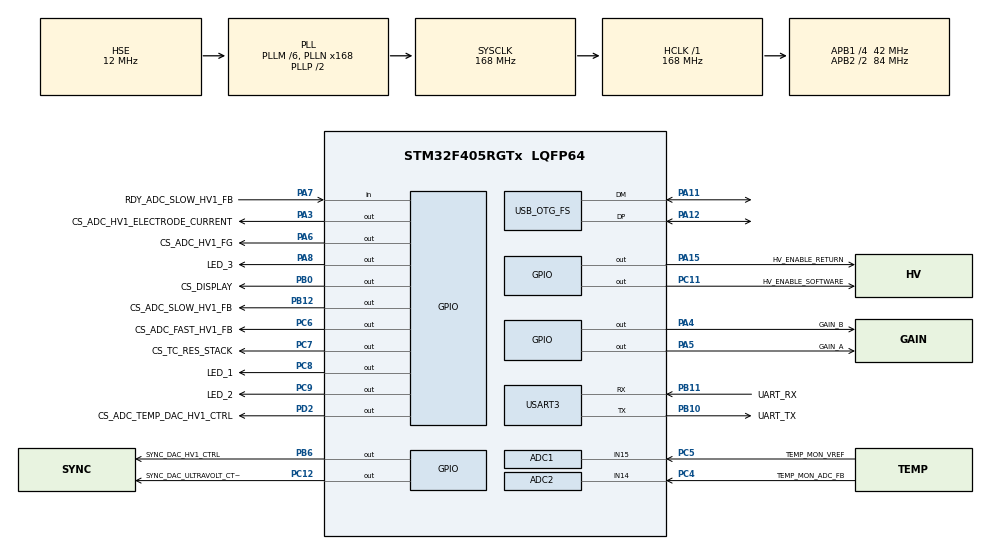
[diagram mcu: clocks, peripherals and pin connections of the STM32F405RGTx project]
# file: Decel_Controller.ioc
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ADC1.Channel-0\#ChannelRegularConversion=ADC_CHANNEL_15
ADC1.ClockPrescaler=ADC_CLOCK_SYNC_PCLK_DIV4
ADC1.NbrOfConversionFlag=1
ADC1.Rank-0\#ChannelRegularConversion=1
ADC1.SamplingTime-0\#ChannelRegularConversion=ADC_SAMPLETIME_3CYCLES
ADC1.master=1
ADC2.Channel-0\#ChannelRegularConversion=ADC_CHANNEL_14
ADC2.ClockPrescaler=ADC_CLOCK_SYNC_PCLK_DIV4
ADC2.NbrOfConversionFlag=1
ADC2.Rank-0\#ChannelRegularConversion=1
ADC2.SamplingTime-0\#ChannelRegularConversion=ADC_SAMPLETIME_3CYCLES
Mcu.Family=STM32F4
Mcu.Name=STM32F405RGTx
Mcu.Package=LQFP64
NVIC.OTG_FS_IRQn=true\:0\:0\:false\:false\:true\:false\:true\:true
NVIC.PriorityGroup=NVIC_PRIORITYGROUP_4
NVIC.USART3_IRQn=true\:0\:0\:false\:false\:true\:true\:true\:true
PA11.Mode=Device_Only
PA11.Signal=USB_OTG_FS_DM
PA12.Mode=Device_Only
PA12.Signal=USB_OTG_FS_DP
PA13.Mode=Serial_Wire
PA13.Signal=SYS_JTMS-SWDIO
PA14.Mode=Serial_Wire
PA14.Signal=SYS_JTCK-SWCLK
PA15.GPIO_Label=HV_ENABLE_RETURN
PA15.Signal=GPIO_Output
PA3.GPIO_Label=CS_ADC_HV1_ELECTRODE_CURRENT
PA3.GPIO_Speed=GPIO_SPEED_FREQ_VERY_HIGH
PA3.PinState=GPIO_PIN_SET
PA3.Signal=GPIO_Output
PA4.GPIO_Label=GAIN_B
PA4.Signal=GPIO_Output
PA5.GPIO_Label=GAIN_A
PA5.Signal=GPIO_Output
PA6.GPIO_Label=CS_ADC_HV1_FG
PA6.GPIO_Speed=GPIO_SPEED_FREQ_VERY_HIGH
PA6.PinState=GPIO_PIN_SET
PA6.Signal=GPIO_Output
PA7.GPIO_Label=RDY_ADC_SLOW_HV1_FB
PA7.Signal=GPIO_Input
PA8.GPIO_Label=LED_3
PA8.Signal=GPIO_Output
PB0.GPIO_Label=CS_DISPLAY
PB0.GPIO_Speed=GPIO_SPEED_FREQ_VERY_HIGH
PB0.PinState=GPIO_PIN_SET
PB0.Signal=GPIO_Output
PB10.GPIO_Label=UART_TX
PB10.Mode=Asynchronous
PB10.Signal=USART3_TX
PB11.GPIO_Label=UART_RX
PB11.Mode=Asynchronous
PB11.Signal=USART3_RX
PB12.GPIO_Label=CS_ADC_SLOW_HV1_FB
PB12.GPIO_Speed=GPIO_SPEED_FREQ_LOW
PB12.PinState=GPIO_PIN_SET
PB12.Signal=GPIO_Output
PB6.GPIO_Label=SYNC_DAC_HV1_CTRL
PB6.Signal=GPIO_Output
PC11.GPIO_Label=HV_ENABLE_SOFTWARE
PC11.Signal=GPIO_Output
PC12.GPIO_Label=SYNC_DAC_ULTRAVOLT_CTRL
PC12.Signal=GPIO_Output
PC14-OSC32_IN.Mode=LSE-External-Oscillator
PC14-OSC32_IN.Signal=RCC_OSC32_IN
PC15-OSC32_OUT.Mode=LSE-External-Oscillator
PC15-OSC32_OUT.Signal=RCC_OSC32_OUT
PC4.GPIO_Label=TEMP_MON_ADC_FB
PC4.Signal=ADCx_IN14
PC5.GPIO_Label=TEMP_MON_VREF
PC5.Signal=ADCx_IN15
PC6.GPIO_Label=CS_ADC_FAST_HV1_FB
PC6.GPIO_Speed=GPIO_SPEED_FREQ_VERY_HIGH
PC6.PinState=GPIO_PIN_SET
PC6.Signal=GPIO_Output
PC7.GPIO_Label=CS_TC_RES_STACK
PC7.GPIO_Speed=GPIO_SPEED_FREQ_VERY_HIGH
PC7.PinState=GPIO_PIN_SET
PC7.Signal=GPIO_Output
PC8.GPIO_Label=LED_1
PC8.Signal=GPIO_Output
PC9.GPIO_Label=LED_2
PC9.Signal=GPIO_Output
PD2.GPIO_Label=CS_ADC_TEMP_DAC_HV1_CTRL
PD2.GPIO_Speed=GPIO_SPEED_FREQ_VERY_HIGH
PD2.PinState=GPIO_PIN_SET
PD2.Signal=GPIO_Output
PH0-OSC_IN.Mode=HSE-External-Oscillator
PH0-OSC_IN.Signal=RCC_OSC_IN
PH1-OSC_OUT.Mode=HSE-External-Oscillator
PH1-OSC_OUT.Signal=RCC_OSC_OUT
ProjectManager.HeapSize=0x200
ProjectManager.StackSize=0x400
ProjectManager.TargetToolchain=STM32CubeIDE
RCC.48MHZClocksFreq_Value=48000000
RCC.AHBFreq_Value=168000000
RCC.APB1CLKDivider=RCC_HCLK_DIV4
RCC.APB1Freq_Value=42000000
RCC.APB1TimFreq_Value=84000000
RCC.APB2CLKDivider=RCC_HCLK_DIV2
RCC.APB2Freq_Value=84000000
RCC.APB2TimFreq_Value=168000000
RCC.CortexFreq_Value=168000000
RCC.HCLKFreq_Value=168000000
RCC.HSE_VALUE=12000000
RCC.HSI_VALUE=16000000
RCC.PLLM=6
RCC.PLLN=168
RCC.PLLQ=7
RCC.RCC_RTC_Clock_Source=RCC_RTCCLKSOURCE_LSE
RCC.RCC_RTC_Clock_SourceVirtual=RCC_RTCCLKSOURCE_LSE
RCC.SYSCLKFreq_VALUE=168000000
RCC.SYSCLKSource=RCC_SYSCLKSOURCE_PLLCLK
RCC.VCOOutputFreq_Value=336000000
SH.ADCx_IN14.0=ADC2_IN14,IN14
SH.ADCx_IN15.0=ADC1_IN15,IN15
USART3.VirtualMode=VM_ASYNC
USB_DEVICE.CLASS_NAME_FS=CDC
USB_DEVICE.USBD_SELF_POWERED-CDC_FS=1
USB_DEVICE.VirtualMode-CDC_FS=Cdc
USB_DEVICE.VirtualModeFS=Cdc_FS
USB_OTG_FS.VirtualMode=Device_Only
VP_RTC_VS_RTC_Activate.Mode=RTC_Enabled
VP_RTC_VS_RTC_Calendar.Mode=RTC_Calendar
VP_USB_DEVICE_VS_USB_DEVICE_CDC_FS.Mode=CDC_FS
board=custom

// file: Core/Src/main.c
/* USER CODE BEGIN Header */
/**
  ******************************************************************************
  * @file           : main.c
  * @brief          : Main program body
  ******************************************************************************
  * @attention
  *
  * Copyright (c) 2023 STMicroelectronics.
  * All rights reserved.
  *
  * This software is licensed under terms that can be found in the LICENSE file
  * in the root directory of this software component.
  * If no LICENSE file comes with this software, it is provided AS-IS.
  *
  ******************************************************************************
  */
/* USER CODE END Header */
#include "main.h"
#include "usb_device.h"

/* USER CODE BEGIN Includes */
#include "max11270.h"
#include "mcp33131.h"
#include "max6225.h"
#include "board.h"
#include "ad5763.h"
#include "misc_funcs.h"
#include "stdint.h"
#include <string.h>
#include <stdio.h>
#include "usbd_cdc_if.h"
#include "stm32f4xx_hal_rcc.h"
#include "errno.h"
#include "spi_bare.h"

/* USER CODE END Includes */

ADC_HandleTypeDef hadc1;
ADC_HandleTypeDef hadc2;

RTC_HandleTypeDef hrtc;

UART_HandleTypeDef huart3;

/* USER CODE BEGIN PV */
uint8_t new_usb_data; 			// flag to indicate new usb data has been received
uint8_t buffer_usb_rx[64]; 		// will automatically contain new USB received data
uint8_t new_uart_data; 			// flag to indicate new uart data has been received
uint8_t buffer_uart_rx[64]; 	// will automatically contain new UART received data
struct command cmd;				// holds the most recent command received over either USB or UART
uint8_t new_cmd;				// flag to indicate if the newest command has been acted on
/* USER CODE END PV */

void SystemClock_Config(void);
static void MX_GPIO_Init(void);
static void MX_ADC1_Init(void);
static void MX_ADC2_Init(void);
static void MX_RTC_Init(void);
static void MX_USART3_UART_Init(void);

int main(void)
{

  /* MCU Configuration--------------------------------------------------------*/

  /* Reset of all peripherals, Initializes the Flash interface and the Systick. */
  HAL_Init();

  /* Configure the system clock */
  SystemClock_Config();

  /* Initialize all configured peripherals */
  MX_GPIO_Init();
  MX_ADC1_Init();
  MX_ADC2_Init();
  MX_RTC_Init();
  MX_USART3_UART_Init();
  MX_USB_DEVICE_Init();
  /* USER CODE BEGIN 2 */

	SPIConfig();
	SPI_Enable(SPI1);
	SPI_Enable(SPI2);

	led_twinkle(80); //allows voltage to settle before attempting calibration

	// allows access to clock cycles
	CoreDebug->DEMCR |= CoreDebug_DEMCR_TRCENA_Msk;
	DWT->CYCCNT = 0;
	DWT->CTRL |= DWT_CTRL_CYCCNTENA_Msk;

	uint8_t verbose = 0; 	// levels 0, 1, 2 - produces increasingly descriptive serial output

	new_usb_data = 0;
	new_uart_data = 0;
	new_cmd = 0;
	HAL_UART_Receive_IT (&huart3, buffer_uart_rx, 64); // start listening for data over fibre-optic UART

	splash_message(verbose);	// says a little hello and some system information and settings

	// Initialise and setup the various peripheral devices, ADC's, DAC's etc.

	struct board decel_board = init_board(verbose);

	struct max11270_device adc_slow_hv1_fb =
		  init_max11270(CS_ADC_SLOW_HV1_FB_Pin, CS_ADC_SLOW_HV1_FB_GPIO_Port,
				  RDY_ADC_SLOW_HV1_FB_Pin, RDY_ADC_SLOW_HV1_FB_GPIO_Port, 0, SPI2, verbose, "Vfb_slow_ADC");

	struct mcp33131_device adc_fast_hv1_fb =
		  init_mcp33131(CS_ADC_FAST_HV1_FB_Pin, CS_ADC_FAST_HV1_FB_GPIO_Port, SPI2, verbose, "Vfb_ADC");/*
	struct mcp33131_device adc_hv1_fg =
		  init_mcp33131(CS_ADC_HV1_FG_Pin, CS_ADC_HV1_FG_GPIO_Port, SPI2, verbose, "Vfg_ADC");
	struct mcp33131_device adc_temp_dac_hv1_ctrl =
		  init_mcp33131(CS_ADC_TEMP_DAC_HV1_CTRL_Pin, CS_ADC_TEMP_DAC_HV1_CTRL_GPIO_Port, SPI2, verbose, "DAC_temp_ADC");
	struct mcp33131_device adc_hv1_electrode_current =
		  init_mcp33131(CS_ADC_HV1_ELECTRODE_CURRENT_Pin, CS_ADC_HV1_ELECTRODE_CURRENT_GPIO_Port, SPI2, verbose, "current_ADC");

	struct ad5763_device dac_hv1 =
		  init_ad5763(SYNC_DAC_HV1_CTRL_Pin, SYNC_DAC_HV1_CTRL_GPIO_Port, SPI1,
				  HV1_COARSE_OFFSET, HV1_COARSE_GAIN, HV1_FINE_OFFSET, HV1_FINE_GAIN, verbose, "DAC_HV", "coarse", "fine");
	struct ad5763_device dac_ultravolt =
		  init_ad5763(SYNC_DAC_ULTRAVOLT_CTRL_Pin, SYNC_DAC_ULTRAVOLT_CTRL_GPIO_Port, SPI1,
				  UVA_OFFSET, UVA_GAIN, UVB_OFFSET, UVB_GAIN, verbose, "DAC_UV", "A", "B");*/

	struct max6225_device vref = init_max6225(verbose);

  /* USER CODE END 2 */

  /* Infinite loop */
  /* USER CODE BEGIN WHILE */
	uint32_t lastTick = HAL_GetTick();
	while (1)
	{
    /* USER CODE END WHILE */

    /* USER CODE BEGIN 3 */
		// checks for newly received USB data, attempts to parse and act on it
		if (new_usb_data != 0)
		{
			cmd = handle_data(&buffer_usb_rx, verbose);
			if (cmd.valid == 1) new_cmd = 1;
			new_usb_data = 0;
		}

		// checks for newly received UART data, attempts to parse and act on it
		if (new_uart_data != 0)
		{
			cmd = handle_data(&buffer_uart_rx, verbose);
			if (cmd.valid == 1)new_cmd = 1;
			new_uart_data = 0;
		}

		// acts on new commands, calling appropriate function with appropriate arguments
		if (new_cmd == 1)
		{
			new_cmd = 0;
			if (verbose == 1) println("Command acknowledged.");
			if (verbose > 1)
			{
				print("Command received...\n\rType: ");
				println(cmd.type);
				print("Object: ");
				println(cmd.object);
				print("Value: ");
				printfloat(cmd.value, 1);
			}
			if (strcmp(cmd.type, "setSpeed") == 0)
			{
				if (strcmp(cmd.object, adc_slow_hv1_fb.name) == 0)
					cont_conversion(&adc_slow_hv1_fb, verbose, (uint8_t)cmd.value);
				else {} //no other devices with variable speed
			}
			else if (strcmp(cmd.type, "setVoltage") == 0)
			{
			}
			else if (strcmp(cmd.type, "requestValue") == 0)
			{
				if (strcmp(cmd.object, adc_slow_hv1_fb.name) == 0)
					printfloat(adc_slow_hv1_fb.result_uV, 1);
				else if (strcmp(cmd.object, "decelVoltageSlow") == 0)
					printfloat(decel_board.decel_voltage_slow, 1);
				else if (strcmp(cmd.object, "decelVoltageFast") == 0)
					printfloat(decel_board.decel_voltage_fast, 1);
				else if (strcmp(cmd.object, "decelVoltages") == 0)
				{
					printfloat(decel_board.decel_voltage_slow, 1);
					printfloat(decel_board.decel_voltage_fast, 1);
				}
			}
		}

		// checks for new ADC sample on the HV feedback, updates decel_board struct
		if (check_available_max11270(&adc_slow_hv1_fb) == 1)
		{
			read_max11270(&adc_slow_hv1_fb, &vref, verbose);
			updateDecelReadingSlow(&decel_board, &adc_slow_hv1_fb, verbose);
			printfloat(adc_slow_hv1_fb.result_bits, 1);
			printfloat(adc_slow_hv1_fb.result_uV, 1);
			printfloat(adc_fast_hv1_fb.result_bits, 1);
			printfloat(adc_fast_hv1_fb.result_uV, 1);
			println("");
		}

		if (check_available_mcp33131(&adc_fast_hv1_fb) == 1)
		{
			read_mcp33131(&adc_fast_hv1_fb, &vref, verbose);
			updateDecelReadingFast(&decel_board, &adc_fast_hv1_fb, verbose);
		}

		/*// updates DAC values, should check if necesarry first though
		if (decel_board.hv_enable == 1)
		{
			set_stage_uV(&dac_hv1, 1, 0, 1); 		// sets dac_coarse to 1V
			set_stage_uV(&dac_hv1, 2, 0, 1); 		// sets dac_fine to 1V
			set_stage_uV(&dac_ultravolt, 1, 0, 1); 	// sets ultravolt A input to 0V
			set_stage_uV(&dac_ultravolt, 2, 0, 1); 	// sets ultravolt B input to 0V
		}*/

		// heartbeat
		if (HAL_GetTick() - lastTick > 500)
		{
			HAL_GPIO_TogglePin(LED_1_GPIO_Port, LED_1_Pin);
			lastTick = HAL_GetTick();
		}
	}
  /* USER CODE END 3 */
}

void SystemClock_Config(void)
{
  RCC_OscInitTypeDef RCC_OscInitStruct = {0};
  RCC_ClkInitTypeDef RCC_ClkInitStruct = {0};

  /** Configure the main internal regulator output voltage
  */
  __HAL_RCC_PWR_CLK_ENABLE();
  __HAL_PWR_VOLTAGESCALING_CONFIG(PWR_REGULATOR_VOLTAGE_SCALE1);

  /** Initializes the RCC Oscillators according to the specified parameters
  * in the RCC_OscInitTypeDef structure.
  */
  RCC_OscInitStruct.OscillatorType = RCC_OSCILLATORTYPE_HSE|RCC_OSCILLATORTYPE_LSE;
  RCC_OscInitStruct.HSEState = RCC_HSE_ON;
  RCC_OscInitStruct.LSEState = RCC_LSE_ON;
  RCC_OscInitStruct.PLL.PLLState = RCC_PLL_ON;
  RCC_OscInitStruct.PLL.PLLSource = RCC_PLLSOURCE_HSE;
  RCC_OscInitStruct.PLL.PLLM = 6;
  RCC_OscInitStruct.PLL.PLLN = 168;
  RCC_OscInitStruct.PLL.PLLP = RCC_PLLP_DIV2;
  RCC_OscInitStruct.PLL.PLLQ = 7;
  if (HAL_RCC_OscConfig(&RCC_OscInitStruct) != HAL_OK)
  {
    Error_Handler();
  }

  /** Initializes the CPU, AHB and APB buses clocks
  */
  RCC_ClkInitStruct.ClockType = RCC_CLOCKTYPE_HCLK|RCC_CLOCKTYPE_SYSCLK
                              |RCC_CLOCKTYPE_PCLK1|RCC_CLOCKTYPE_PCLK2;
  RCC_ClkInitStruct.SYSCLKSource = RCC_SYSCLKSOURCE_PLLCLK;
  RCC_ClkInitStruct.AHBCLKDivider = RCC_SYSCLK_DIV1;
  RCC_ClkInitStruct.APB1CLKDivider = RCC_HCLK_DIV4;
  RCC_ClkInitStruct.APB2CLKDivider = RCC_HCLK_DIV2;

  if (HAL_RCC_ClockConfig(&RCC_ClkInitStruct, FLASH_LATENCY_5) != HAL_OK)
  {
    Error_Handler();
  }
}

static void MX_ADC1_Init(void)
{

  ADC_ChannelConfTypeDef sConfig = {0};

  /** Configure the global features of the ADC (Clock, Resolution, Data Alignment and number of conversion)
  */
  hadc1.Instance = ADC1;
  hadc1.Init.ClockPrescaler = ADC_CLOCK_SYNC_PCLK_DIV4;
  hadc1.Init.Resolution = ADC_RESOLUTION_12B;
  hadc1.Init.ScanConvMode = DISABLE;
  hadc1.Init.ContinuousConvMode = DISABLE;
  hadc1.Init.DiscontinuousConvMode = DISABLE;
  hadc1.Init.ExternalTrigConvEdge = ADC_EXTERNALTRIGCONVEDGE_NONE;
  hadc1.Init.ExternalTrigConv = ADC_SOFTWARE_START;
  hadc1.Init.DataAlign = ADC_DATAALIGN_RIGHT;
  hadc1.Init.NbrOfConversion = 1;
  hadc1.Init.DMAContinuousRequests = DISABLE;
  hadc1.Init.EOCSelection = ADC_EOC_SINGLE_CONV;
  if (HAL_ADC_Init(&hadc1) != HAL_OK)
  {
    Error_Handler();
  }

  /** Configure for the selected ADC regular channel its corresponding rank in the sequencer and its sample time.
  */
  sConfig.Channel = ADC_CHANNEL_15;
  sConfig.Rank = 1;
  sConfig.SamplingTime = ADC_SAMPLETIME_3CYCLES;
  if (HAL_ADC_ConfigChannel(&hadc1, &sConfig) != HAL_OK)
  {
    Error_Handler();
  }

}

static void MX_ADC2_Init(void)
{

  ADC_ChannelConfTypeDef sConfig = {0};

  /** Configure the global features of the ADC (Clock, Resolution, Data Alignment and number of conversion)
  */
  hadc2.Instance = ADC2;
  hadc2.Init.ClockPrescaler = ADC_CLOCK_SYNC_PCLK_DIV4;
  hadc2.Init.Resolution = ADC_RESOLUTION_12B;
  hadc2.Init.ScanConvMode = DISABLE;
  hadc2.Init.ContinuousConvMode = DISABLE;
  hadc2.Init.DiscontinuousConvMode = DISABLE;
  hadc2.Init.ExternalTrigConvEdge = ADC_EXTERNALTRIGCONVEDGE_NONE;
  hadc2.Init.ExternalTrigConv = ADC_SOFTWARE_START;
  hadc2.Init.DataAlign = ADC_DATAALIGN_RIGHT;
  hadc2.Init.NbrOfConversion = 1;
  hadc2.Init.DMAContinuousRequests = DISABLE;
  hadc2.Init.EOCSelection = ADC_EOC_SINGLE_CONV;
  if (HAL_ADC_Init(&hadc2) != HAL_OK)
  {
    Error_Handler();
  }

  /** Configure for the selected ADC regular channel its corresponding rank in the sequencer and its sample time.
  */
  sConfig.Channel = ADC_CHANNEL_14;
  sConfig.Rank = 1;
  sConfig.SamplingTime = ADC_SAMPLETIME_3CYCLES;
  if (HAL_ADC_ConfigChannel(&hadc2, &sConfig) != HAL_OK)
  {
    Error_Handler();
  }

}

static void MX_RTC_Init(void)
{

  RTC_TimeTypeDef sTime = {0};
  RTC_DateTypeDef sDate = {0};

  /** Initialize RTC Only
  */
  hrtc.Instance = RTC;
  hrtc.Init.HourFormat = RTC_HOURFORMAT_24;
  hrtc.Init.AsynchPrediv = 127;
  hrtc.Init.SynchPrediv = 255;
  hrtc.Init.OutPut = RTC_OUTPUT_DISABLE;
  hrtc.Init.OutPutPolarity = RTC_OUTPUT_POLARITY_HIGH;
  hrtc.Init.OutPutType = RTC_OUTPUT_TYPE_OPENDRAIN;
  if (HAL_RTC_Init(&hrtc) != HAL_OK)
  {
    Error_Handler();
  }

  /** Initialize RTC and set the Time and Date
  */
  sTime.Hours = 0x0;
  sTime.Minutes = 0x0;
  sTime.Seconds = 0x0;
  sTime.DayLightSaving = RTC_DAYLIGHTSAVING_NONE;
  sTime.StoreOperation = RTC_STOREOPERATION_RESET;
  if (HAL_RTC_SetTime(&hrtc, &sTime, RTC_FORMAT_BCD) != HAL_OK)
  {
    Error_Handler();
  }
  sDate.WeekDay = RTC_WEEKDAY_MONDAY;
  sDate.Month = RTC_MONTH_JANUARY;
  sDate.Date = 0x1;
  sDate.Year = 0x0;

  if (HAL_RTC_SetDate(&hrtc, &sDate, RTC_FORMAT_BCD) != HAL_OK)
  {
    Error_Handler();
  }

}

static void MX_USART3_UART_Init(void)
{

  huart3.Instance = USART3;
  huart3.Init.BaudRate = 115200;
  huart3.Init.WordLength = UART_WORDLENGTH_8B;
  huart3.Init.StopBits = UART_STOPBITS_1;
  huart3.Init.Parity = UART_PARITY_NONE;
  huart3.Init.Mode = UART_MODE_TX_RX;
  huart3.Init.HwFlowCtl = UART_HWCONTROL_NONE;
  huart3.Init.OverSampling = UART_OVERSAMPLING_16;
  if (HAL_UART_Init(&huart3) != HAL_OK)
  {
    Error_Handler();
  }

}

static void MX_GPIO_Init(void)
{
  GPIO_InitTypeDef GPIO_InitStruct = {0};

  /* GPIO Ports Clock Enable */
  __HAL_RCC_GPIOC_CLK_ENABLE();
  __HAL_RCC_GPIOH_CLK_ENABLE();
  __HAL_RCC_GPIOA_CLK_ENABLE();
  __HAL_RCC_GPIOB_CLK_ENABLE();
  __HAL_RCC_GPIOD_CLK_ENABLE();

  /*Configure GPIO pin Output Level */
  HAL_GPIO_WritePin(GPIOA, CS_ADC_HV1_ELECTRODE_CURRENT_Pin|CS_ADC_HV1_FG_Pin, GPIO_PIN_SET);

  /*Configure GPIO pin Output Level */
  HAL_GPIO_WritePin(GPIOA, GAIN_B_Pin|GAIN_A_Pin|LED_3_Pin|HV_ENABLE_RETURN_Pin, GPIO_PIN_RESET);

  /*Configure GPIO pin Output Level */
  HAL_GPIO_WritePin(GPIOB, CS_DISPLAY_Pin|CS_ADC_SLOW_HV1_FB_Pin, GPIO_PIN_SET);

  /*Configure GPIO pin Output Level */
  HAL_GPIO_WritePin(GPIOC, CS_ADC_FAST_HV1_FB_Pin|CS_TC_RES_STACK_Pin, GPIO_PIN_SET);

  /*Configure GPIO pin Output Level */
  HAL_GPIO_WritePin(GPIOC, LED_1_Pin|LED_2_Pin|HV_ENABLE_SOFTWARE_Pin|SYNC_DAC_ULTRAVOLT_CTRL_Pin, GPIO_PIN_RESET);

  /*Configure GPIO pin Output Level */
  HAL_GPIO_WritePin(CS_ADC_TEMP_DAC_HV1_CTRL_GPIO_Port, CS_ADC_TEMP_DAC_HV1_CTRL_Pin, GPIO_PIN_SET);

  /*Configure GPIO pin Output Level */
  HAL_GPIO_WritePin(SYNC_DAC_HV1_CTRL_GPIO_Port, SYNC_DAC_HV1_CTRL_Pin, GPIO_PIN_RESET);

  /*Configure GPIO pins : CS_ADC_HV1_ELECTRODE_CURRENT_Pin CS_ADC_HV1_FG_Pin */
  GPIO_InitStruct.Pin = CS_ADC_HV1_ELECTRODE_CURRENT_Pin|CS_ADC_HV1_FG_Pin;
  GPIO_InitStruct.Mode = GPIO_MODE_OUTPUT_PP;
  GPIO_InitStruct.Pull = GPIO_NOPULL;
  GPIO_InitStruct.Speed = GPIO_SPEED_FREQ_VERY_HIGH;
  HAL_GPIO_Init(GPIOA, &GPIO_InitStruct);

  /*Configure GPIO pins : GAIN_B_Pin GAIN_A_Pin LED_3_Pin HV_ENABLE_RETURN_Pin */
  GPIO_InitStruct.Pin = GAIN_B_Pin|GAIN_A_Pin|LED_3_Pin|HV_ENABLE_RETURN_Pin;
  GPIO_InitStruct.Mode = GPIO_MODE_OUTPUT_PP;
  GPIO_InitStruct.Pull = GPIO_NOPULL;
  GPIO_InitStruct.Speed = GPIO_SPEED_FREQ_LOW;
  HAL_GPIO_Init(GPIOA, &GPIO_InitStruct);

  /*Configure GPIO pin : RDY_ADC_SLOW_HV1_FB_Pin */
  GPIO_InitStruct.Pin = RDY_ADC_SLOW_HV1_FB_Pin;
  GPIO_InitStruct.Mode = GPIO_MODE_INPUT;
  GPIO_InitStruct.Pull = GPIO_NOPULL;
  HAL_GPIO_Init(RDY_ADC_SLOW_HV1_FB_GPIO_Port, &GPIO_InitStruct);

  /*Configure GPIO pin : CS_DISPLAY_Pin */
  GPIO_InitStruct.Pin = CS_DISPLAY_Pin;
  GPIO_InitStruct.Mode = GPIO_MODE_OUTPUT_PP;
  GPIO_InitStruct.Pull = GPIO_NOPULL;
  GPIO_InitStruct.Speed = GPIO_SPEED_FREQ_VERY_HIGH;
  HAL_GPIO_Init(CS_DISPLAY_GPIO_Port, &GPIO_InitStruct);

  /*Configure GPIO pins : CS_ADC_SLOW_HV1_FB_Pin SYNC_DAC_HV1_CTRL_Pin */
  GPIO_InitStruct.Pin = CS_ADC_SLOW_HV1_FB_Pin|SYNC_DAC_HV1_CTRL_Pin;
  GPIO_InitStruct.Mode = GPIO_MODE_OUTPUT_PP;
  GPIO_InitStruct.Pull = GPIO_NOPULL;
  GPIO_InitStruct.Speed = GPIO_SPEED_FREQ_LOW;
  HAL_GPIO_Init(GPIOB, &GPIO_InitStruct);

  /*Configure GPIO pins : CS_ADC_FAST_HV1_FB_Pin CS_TC_RES_STACK_Pin */
  GPIO_InitStruct.Pin = CS_ADC_FAST_HV1_FB_Pin|CS_TC_RES_STACK_Pin;
  GPIO_InitStruct.Mode = GPIO_MODE_OUTPUT_PP;
  GPIO_InitStruct.Pull = GPIO_NOPULL;
  GPIO_InitStruct.Speed = GPIO_SPEED_FREQ_VERY_HIGH;
  HAL_GPIO_Init(GPIOC, &GPIO_InitStruct);

  /*Configure GPIO pins : LED_1_Pin LED_2_Pin HV_ENABLE_SOFTWARE_Pin SYNC_DAC_ULTRAVOLT_CTRL_Pin */
  GPIO_InitStruct.Pin = LED_1_Pin|LED_2_Pin|HV_ENABLE_SOFTWARE_Pin|SYNC_DAC_ULTRAVOLT_CTRL_Pin;
  GPIO_InitStruct.Mode = GPIO_MODE_OUTPUT_PP;
  GPIO_InitStruct.Pull = GPIO_NOPULL;
  GPIO_InitStruct.Speed = GPIO_SPEED_FREQ_LOW;
  HAL_GPIO_Init(GPIOC, &GPIO_InitStruct);

  /*Configure GPIO pin : CS_ADC_TEMP_DAC_HV1_CTRL_Pin */
  GPIO_InitStruct.Pin = CS_ADC_TEMP_DAC_HV1_CTRL_Pin;
  GPIO_InitStruct.Mode = GPIO_MODE_OUTPUT_PP;
  GPIO_InitStruct.Pull = GPIO_NOPULL;
  GPIO_InitStruct.Speed = GPIO_SPEED_FREQ_VERY_HIGH;
  HAL_GPIO_Init(CS_ADC_TEMP_DAC_HV1_CTRL_GPIO_Port, &GPIO_InitStruct);

}

void Error_Handler(void)
{
  /* USER CODE BEGIN Error_Handler_Debug */
	/* User can add his own implementation to report the HAL error return state */
	__disable_irq();
	while (1)
	{
		led_twinkle(10);
		println("ERROR!");

	}
  /* USER CODE END Error_Handler_Debug */
}
